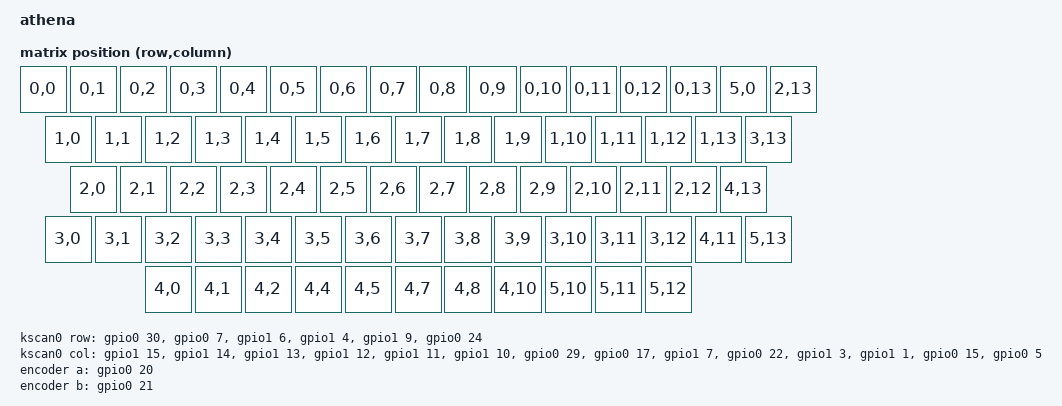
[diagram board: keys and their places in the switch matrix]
/dts-v1/;

#include <nordic/nrf52840_qiaa.dtsi>

#include <dt-bindings/led/led.h>
#include <dt-bindings/zmk/matrix_transform.h>

#include "athena-pinctrl.dtsi"

#include <layouts/common/65percent/ansi.dtsi>

/ {
    model = "athena";
    compatible = "athena";

    chosen {
        zephyr,code-partition = &code_partition;
        zephyr,sram = &sram0;
        zephyr,flash = &flash0;
        // zephyr,console = &cdc_acm_uart;
        zmk,battery = &vbatt;
        zmk,kscan = &kscan0;
        zmk,physical-layout = &layout_65_ansi;
        zmk,underglow = &led_strip;
        zmk,keymap-sensors = <&sensors>;
    };

    sensors: sensors {
        compatible = "zmk,keymap-sensors";
        sensors = <&encoder>;
        triggers-per-rotation = <12>;  // Match steps
    };

    default_transform: keymap_transform_0 {
        compatible = "zmk,matrix-transform";
        columns = <14>;
        rows = <6>;
        map = <
RC(0,0) RC(0,1) RC(0,2) RC(0,3) RC(0,4) RC(0,5) RC(0,6) RC(0,7) RC(0,8) RC(0,9) RC(0,10) RC(0,11) RC(0,12) RC(0,13) RC(5,0)       RC(2,13)
RC(1,0)   RC(1,1) RC(1,2) RC(1,3) RC(1,4) RC(1,5) RC(1,6) RC(1,7) RC(1,8) RC(1,9) RC(1,10) RC(1,11) RC(1,12) RC(1,13)             RC(3,13) 
RC(2,0)     RC(2,1) RC(2,2) RC(2,3) RC(2,4) RC(2,5) RC(2,6) RC(2,7) RC(2,8) RC(2,9) RC(2,10) RC(2,11)   RC(2,12)                  RC(4,13)     
RC(3,0) RC(3,1) RC(3,2) RC(3,3) RC(3,4) RC(3,5) RC(3,6) RC(3,7) RC(3,8) RC(3,9) RC(3,10) RC(3,11)     RC(3,12)  RC(4,11)             RC(5,13) 
RC(4,0)   RC(4,1)   RC(4,2)       RC(4,4)     RC(4,5)      RC(4,7)  RC(4,8)     RC(4,10)           RC(5,10)  RC(5,11)  RC(5,12) 
>;                    
    };

    kscan0: kscan {
        compatible = "zmk,kscan-gpio-matrix";
        wakeup-source;

        diode-direction = "col2row";
        row-gpios
            = <&gpio0 30 (GPIO_ACTIVE_HIGH | GPIO_PULL_DOWN)>
            , <&gpio0 7 (GPIO_ACTIVE_HIGH | GPIO_PULL_DOWN)>
            , <&gpio1 6 (GPIO_ACTIVE_HIGH | GPIO_PULL_DOWN)>
            , <&gpio1 4 (GPIO_ACTIVE_HIGH | GPIO_PULL_DOWN)>
            , <&gpio1 9 (GPIO_ACTIVE_HIGH | GPIO_PULL_DOWN)>
            , <&gpio0 24 (GPIO_ACTIVE_HIGH | GPIO_PULL_DOWN)>
            ;
        col-gpios =
            <&gpio1 15 (GPIO_ACTIVE_HIGH | GPIO_PULL_UP)>,
            <&gpio1 14 (GPIO_ACTIVE_HIGH | GPIO_PULL_UP)>,
            <&gpio1 13 (GPIO_ACTIVE_HIGH | GPIO_PULL_UP)>,
            <&gpio1 12 (GPIO_ACTIVE_HIGH | GPIO_PULL_UP)>,
            <&gpio1 11 (GPIO_ACTIVE_HIGH | GPIO_PULL_UP)>,
            <&gpio1 10 (GPIO_ACTIVE_HIGH | GPIO_PULL_UP)>,
            <&gpio0 29 (GPIO_ACTIVE_HIGH | GPIO_PULL_UP)>,
            <&gpio0 17 (GPIO_ACTIVE_HIGH | GPIO_PULL_UP)>,
            <&gpio1 7  (GPIO_ACTIVE_HIGH | GPIO_PULL_UP)>,
            <&gpio0 22 (GPIO_ACTIVE_HIGH | GPIO_PULL_UP)>,
            <&gpio1 3  (GPIO_ACTIVE_HIGH | GPIO_PULL_UP)>,
            <&gpio1 1  (GPIO_ACTIVE_HIGH | GPIO_PULL_UP)>,
            <&gpio0 15 (GPIO_ACTIVE_HIGH | GPIO_PULL_UP)>,
            <&gpio0 5  (GPIO_ACTIVE_HIGH | GPIO_PULL_UP)>;
    };

    leds {
        compatible = "gpio-leds";
        user_led: led_0 {
            gpios = <&gpio0 26 GPIO_ACTIVE_HIGH>;
            label = "User LED";
        };
    };

    aliases {
        indicator-led = &user_led;
    };

    encoder: encoder {
        compatible = "alps,ec11";
        a-gpios = <&gpio0 20 (GPIO_ACTIVE_HIGH | GPIO_PULL_UP)>;
        b-gpios = <&gpio0 21 (GPIO_ACTIVE_HIGH | GPIO_PULL_UP)>;
        steps = <12>;  // Common working value
        status = "okay";
    };

    EXT_POWER {
        compatible = "zmk,ext-power-generic";
        control-gpios = <&gpio0 6 GPIO_ACTIVE_LOW>;
    };

    vbatt: vbatt {
        compatible = "zmk,battery-voltage-divider";
        io-channels = <&adc 2>;
        output-ohms = <2000000>;
        full-ohms = <(2000000 + 806000)>;
    };

    // LED Control Macros
    macros {
        led_toggle: led_toggle_macro {
            label = "LED_TOGGLE";
            compatible = "zmk,behavior-macro";
            #binding-cells = <0>;
            bindings = <&rgb_ug RGB_TOG>;
        };
        
        led_bright_down: led_bright_down_macro {
            label = "LED_BRIGHT_DOWN";
            compatible = "zmk,behavior-macro";
            #binding-cells = <0>;
            bindings = 
                <&rgb_ug RGB_BRD
                &rgb_ug RGB_BRD
                &rgb_ug RGB_BRD
                &rgb_ug RGB_BRD>;
        };
        
        led_bright_up: led_bright_up_macro {
            label = "LED_BRIGHT_UP";
            compatible = "zmk,behavior-macro";
            #binding-cells = <0>;
            bindings = 
                <&rgb_ug RGB_BRI
                &rgb_ug RGB_BRI
                &rgb_ug RGB_BRI
                &rgb_ug RGB_BRI>;
        };

        led_cycle_effect: led_cycle_effect_macro {
            label = "LED_CYCLE_EFFECT";
            compatible = "zmk,behavior-macro";
            #binding-cells = <0>;
            bindings = <&rgb_ug RGB_EFF>;
        };

        led_hue_cycle: led_hue_cycle_macro {
            label = "LED_HUE_CYCLE";
            compatible = "zmk,behavior-macro";
            #binding-cells = <0>;
            bindings = 
                <&rgb_ug RGB_HUI
                &rgb_ug RGB_HUI
                &rgb_ug RGB_HUI>;
        };
    };
};

&adc {
    status = "okay";
};

&gpiote {
    status = "okay";
};

&gpio0 {
    status = "okay";
};

&gpio1 {
    status = "okay";
};

&spi3 {
    compatible = "nordic,nrf-spim";
    status = "okay";

    pinctrl-0 = <&spi3_default>;
    pinctrl-1 = <&spi3_sleep>;
    pinctrl-names = "default", "sleep";

    led_strip: ws2812@0 {
        compatible = "worldsemi,ws2812-spi";
        label = "WS2812";

        /* SPI */
        reg = <0>; /* ignored, but necessary for SPI bindings */
        spi-max-frequency = <4000000>;

        /* WS2812 */
        chain-length = <75>; /* number of LEDs */
        spi-one-frame = <0x70>;
        spi-zero-frame = <0x40>;
        color-mapping = <LED_COLOR_ID_GREEN
                         LED_COLOR_ID_RED
                         LED_COLOR_ID_BLUE>;
    };
};

zephyr_udc0: &usbd {
    status = "okay";
    // cdc_acm_uart: cdc_acm_uart {
    //     compatible = "zephyr,cdc-acm-uart";
    // };
};

&flash0 {
    /*
     * For more information, see:
     * http://docs.zephyrproject.org/latest/devices/dts/flash_partitions.html
     */
    partitions {
        compatible = "fixed-partitions";
        #address-cells = <1>;
        #size-cells = <1>;

        sd_partition: partition@0 {
            reg = <0x00000000 0x00001000>;
        };

        code_partition: partition@1000 {
            reg = <0x00001000 0x000d3000>;
        };

        /*
         * The flash starting at 0x000d4000 and ending at
         * 0x000f3fff is reserved for use by the application.
         */

        /*
         * Storage partition will be used by FCB/LittleFS/NVS
         * if enabled.
         */
        storage_partition: partition@d4000 {
            reg = <0x000d4000 0x00020000>;
        };

        boot_partition: partition@f4000 {
            reg = <0x000f4000 0x0000c000>;
        };
    };
};

&layout_65_ansi {
    transform = <&default_transform>;
};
